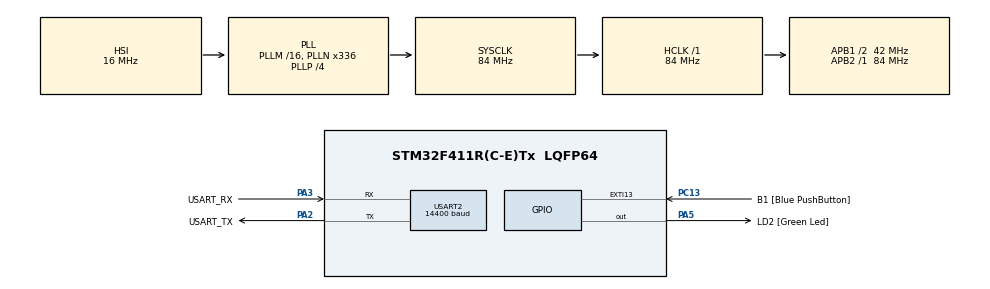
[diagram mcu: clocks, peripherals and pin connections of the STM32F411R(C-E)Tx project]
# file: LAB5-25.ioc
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Mcu.Family=STM32F4
Mcu.Name=STM32F411R(C-E)Tx
Mcu.Package=LQFP64
NVIC.PriorityGroup=NVIC_PRIORITYGROUP_0
NVIC.USART2_IRQn=true\:0\:0\:false\:false\:true\:true\:true\:true
PA13.GPIO_Label=TMS
PA13.Mode=Trace_Asynchronous_SW
PA13.Signal=SYS_JTMS-SWDIO
PA14.GPIO_Label=TCK
PA14.Mode=Trace_Asynchronous_SW
PA14.Signal=SYS_JTCK-SWCLK
PA2.GPIO_Label=USART_TX
PA2.Mode=Asynchronous
PA2.Signal=USART2_TX
PA3.GPIO_Label=USART_RX
PA3.Mode=Asynchronous
PA3.Signal=USART2_RX
PA5.GPIO_Label=LD2 [Green Led]
PA5.Signal=GPIO_Output
PB3.GPIO_Label=SWO
PB3.Mode=Trace_Asynchronous_SW
PB3.Signal=SYS_JTDO-SWO
PC13-ANTI_TAMP.GPIO_Label=B1 [Blue PushButton]
PC13-ANTI_TAMP.GPIO_ModeDefaultEXTI=GPIO_MODE_IT_FALLING
PC13-ANTI_TAMP.Signal=GPXTI13
PC14-OSC32_IN.Mode=LSE-External-Oscillator
PC14-OSC32_IN.Signal=RCC_OSC32_IN
PC15-OSC32_OUT.Mode=LSE-External-Oscillator
PC15-OSC32_OUT.Signal=RCC_OSC32_OUT
PH0\ -\ OSC_IN.Mode=HSE-External-Clock-Source
PH0\ -\ OSC_IN.Signal=RCC_OSC_IN
PH1\ -\ OSC_OUT.Mode=HSE-External-Clock-Source
PH1\ -\ OSC_OUT.Signal=RCC_OSC_OUT
ProjectManager.HeapSize=0x200
ProjectManager.StackSize=0x400
ProjectManager.TargetToolchain=STM32CubeIDE
RCC.48MHZClocksFreq_Value=84000000
RCC.AHBFreq_Value=84000000
RCC.APB1CLKDivider=RCC_HCLK_DIV2
RCC.APB1Freq_Value=42000000
RCC.APB1TimFreq_Value=84000000
RCC.APB2Freq_Value=84000000
RCC.APB2TimFreq_Value=84000000
RCC.CortexFreq_Value=84000000
RCC.FLatency-AdvancedSettings=FLASH_LATENCY_2
RCC.HCLKFreq_Value=84000000
RCC.HSE_VALUE=8000000
RCC.HSI_VALUE=16000000
RCC.PLLN=336
RCC.PLLP=RCC_PLLP_DIV4
RCC.SYSCLKFreq_VALUE=84000000
RCC.SYSCLKSource=RCC_SYSCLKSOURCE_PLLCLK
RCC.VCOOutputFreq_Value=336000000
USART2.BaudRate=14400
USART2.VirtualMode=VM_ASYNC
board=NUCLEO-F411RE

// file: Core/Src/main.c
/* USER CODE BEGIN Header */
/**
  ******************************************************************************
  * @file           : main.c
  * @brief          : Main program body
  ******************************************************************************
  * @attention
  *
  * Copyright (c) 2023 STMicroelectronics.
  * All rights reserved.
  *
  * This software is licensed under terms that can be found in the LICENSE file
  * in the root directory of this software component.
  * If no LICENSE file comes with this software, it is provided AS-IS.
  *
  ******************************************************************************
  */
/* USER CODE END Header */
#include "main.h"

/* USER CODE BEGIN Includes */
#include "string.h"
/* USER CODE END Includes */

UART_HandleTypeDef huart2;

/* USER CODE BEGIN PV */
uint8_t RxBuffer[20]; // sent
uint8_t TxBuffer[40]; // receive
/* USER CODE END PV */

void SystemClock_Config(void);
static void MX_GPIO_Init(void);
static void MX_USART2_UART_Init(void);
/* USER CODE BEGIN PFP */
void DummyTask();
void UARTInterruptConfig();
/* USER CODE END PFP */

int main(void)
{

  /* MCU Configuration--------------------------------------------------------*/

  /* Reset of all peripherals, Initializes the Flash interface and the Systick. */
  HAL_Init();

  /* Configure the system clock */
  SystemClock_Config();

  /* Initialize all configured peripherals */
  MX_GPIO_Init();
  MX_USART2_UART_Init();
  /* USER CODE BEGIN 2 */
  UARTInterruptConfig();
  /* USER CODE END 2 */

  /* Infinite loop */
  while (1)
  {

    /* USER CODE BEGIN 3 */
  }
	DummyTask();
  /* USER CODE END 3 */
}

void SystemClock_Config(void)
{
  RCC_OscInitTypeDef RCC_OscInitStruct = {0};
  RCC_ClkInitTypeDef RCC_ClkInitStruct = {0};

  /** Configure the main internal regulator output voltage
  */
  __HAL_RCC_PWR_CLK_ENABLE();
  __HAL_PWR_VOLTAGESCALING_CONFIG(PWR_REGULATOR_VOLTAGE_SCALE1);

  /** Initializes the RCC Oscillators according to the specified parameters
  * in the RCC_OscInitTypeDef structure.
  */
  RCC_OscInitStruct.OscillatorType = RCC_OSCILLATORTYPE_HSI;
  RCC_OscInitStruct.HSIState = RCC_HSI_ON;
  RCC_OscInitStruct.HSICalibrationValue = RCC_HSICALIBRATION_DEFAULT;
  RCC_OscInitStruct.PLL.PLLState = RCC_PLL_ON;
  RCC_OscInitStruct.PLL.PLLSource = RCC_PLLSOURCE_HSI;
  RCC_OscInitStruct.PLL.PLLM = 16;
  RCC_OscInitStruct.PLL.PLLN = 336;
  RCC_OscInitStruct.PLL.PLLP = RCC_PLLP_DIV4;
  RCC_OscInitStruct.PLL.PLLQ = 4;
  if (HAL_RCC_OscConfig(&RCC_OscInitStruct) != HAL_OK)
  {
    Error_Handler();
  }

  /** Initializes the CPU, AHB and APB buses clocks
  */
  RCC_ClkInitStruct.ClockType = RCC_CLOCKTYPE_HCLK|RCC_CLOCKTYPE_SYSCLK
                              |RCC_CLOCKTYPE_PCLK1|RCC_CLOCKTYPE_PCLK2;
  RCC_ClkInitStruct.SYSCLKSource = RCC_SYSCLKSOURCE_PLLCLK;
  RCC_ClkInitStruct.AHBCLKDivider = RCC_SYSCLK_DIV1;
  RCC_ClkInitStruct.APB1CLKDivider = RCC_HCLK_DIV2;
  RCC_ClkInitStruct.APB2CLKDivider = RCC_HCLK_DIV1;

  if (HAL_RCC_ClockConfig(&RCC_ClkInitStruct, FLASH_LATENCY_2) != HAL_OK)
  {
    Error_Handler();
  }
}

static void MX_USART2_UART_Init(void)
{

  huart2.Instance = USART2;
  huart2.Init.BaudRate = 14400;
  huart2.Init.WordLength = UART_WORDLENGTH_8B;
  huart2.Init.StopBits = UART_STOPBITS_1;
  huart2.Init.Parity = UART_PARITY_NONE;
  huart2.Init.Mode = UART_MODE_TX_RX;
  huart2.Init.HwFlowCtl = UART_HWCONTROL_NONE;
  huart2.Init.OverSampling = UART_OVERSAMPLING_16;
  if (HAL_UART_Init(&huart2) != HAL_OK)
  {
    Error_Handler();
  }

}

static void MX_GPIO_Init(void)
{
  GPIO_InitTypeDef GPIO_InitStruct = {0};

  /* GPIO Ports Clock Enable */
  __HAL_RCC_GPIOC_CLK_ENABLE();
  __HAL_RCC_GPIOH_CLK_ENABLE();
  __HAL_RCC_GPIOA_CLK_ENABLE();
  __HAL_RCC_GPIOB_CLK_ENABLE();

  /*Configure GPIO pin Output Level */
  HAL_GPIO_WritePin(LD2_GPIO_Port, LD2_Pin, GPIO_PIN_RESET);

  /*Configure GPIO pin : B1_Pin */
  GPIO_InitStruct.Pin = B1_Pin;
  GPIO_InitStruct.Mode = GPIO_MODE_IT_FALLING;
  GPIO_InitStruct.Pull = GPIO_NOPULL;
  HAL_GPIO_Init(B1_GPIO_Port, &GPIO_InitStruct);

  /*Configure GPIO pin : LD2_Pin */
  GPIO_InitStruct.Pin = LD2_Pin;
  GPIO_InitStruct.Mode = GPIO_MODE_OUTPUT_PP;
  GPIO_InitStruct.Pull = GPIO_NOPULL;
  GPIO_InitStruct.Speed = GPIO_SPEED_FREQ_LOW;
  HAL_GPIO_Init(LD2_GPIO_Port, &GPIO_InitStruct);

}

/* USER CODE BEGIN 4 */
void UARTInterruptConfig (){
	// start UART in DMA Mode
	HAL_UART_Receive_IT(&huart2, RxBuffer, 1);
}

void HAL_UART_RxCpltCallback(UART_HandleTypeDef *huart)
{
	if (huart == &huart2){
		// (for string only) Add string stop symbol \0 to end string
		RxBuffer[10] = '\0';

		// return received char
		sprintf((char*) TxBuffer, "Received : %s\r\n", RxBuffer);
		HAL_UART_Transmit_IT(&huart2, TxBuffer, strlen((char*)TxBuffer));

		//recall Receive
		HAL_UART_Receive_IT(huart, RxBuffer, 10);
	}
}
void DummyTask(){
	static uint32_t timestamp = 0;
	if (HAL_GetTick()>= timestamp){
		timestamp = HAL_GetTick() + 100;
		HAL_GPIO_TogglePin(LD2_GPIO_Port, LD2_Pin);
	}
}
/* USER CODE END 4 */

void Error_Handler(void)
{
  __disable_irq();
  while (1)
  {
  }
}
